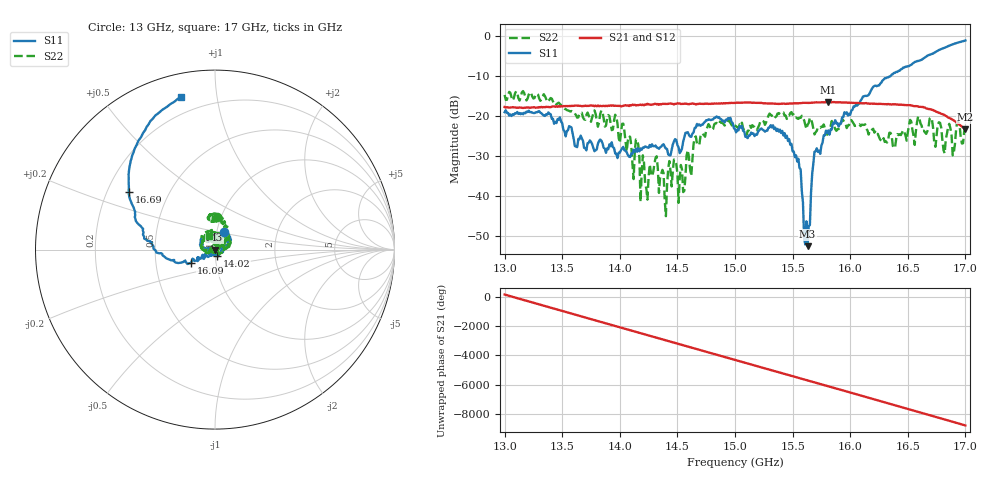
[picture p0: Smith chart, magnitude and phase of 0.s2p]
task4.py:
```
import numpy as np
import skrf as rf
import matplotlib.pyplot as plt

def readout_s2p(your_file):

  ntwk = rf.Network(your_file)

  # Frequency (Hz)
  freq = ntwk.f

  # S-parameters (complex!)
  S = ntwk.s   # shape: (Nfreq, 2, 2)

  # Individual parameters
  S11 = S[:, 0, 0]
  S21 = S[:, 1, 0]
  S12 = S[:, 0, 1]
  S22 = S[:, 1, 1]
  return(freq, S11, S21, S12, S22)



phi = 0

freq, S11, S21, S12, S22 = readout_s2p("lab2/measurements/Practicum2-1.38m/0.s2p")

c0 = 3e8


r = 1.38 # 1, 0.5
lambd = c0/freq

gain = np.abs(S21)*4*np.pi*r/lambd

plt.plot(freq/1e9,10*np.log10(gain))
plt.xlabel("Freq (GHz)")
plt.ylabel("Gain (dB)")
plt.title("Gain per frequency")
plt.grid()

plt.show()
plt.savefig("plots/task4.png", dpi=500)
```
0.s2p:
!Keysight Technologies,P9374A,MY57211807,A.19.30.04
!Date: Friday, May 01, 2026 14:06:19
!Correction: S11(C  2-Port  )
!S21(C  2-Port  )
!S12(C  2-Port  )
!S22(C  2-Port  )
!S2P File: Measurements: S11, S21, S12, S22:
# Hz S  RI  R 50
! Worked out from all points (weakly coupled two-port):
!   401 points, 13 GHz to 17 GHz, reference 50 ohm
!   highest |S21| = -16.57 dB at 15.81 GHz (marker M1); lowest = -23.4 dB at 17 GHz (marker M2)
!   lowest |S11| = -52.6 dB at 15.63 GHz (marker M3), VSWR 1.00, Z = 49.8 - j0.0845 ohm
!   |S11| at or under -10 dB: start of sweep to 16.35 GHz
!   |S22| runs from -45.1 to -13.8 dB; largest |S21 - S12| = 0.0044
!   S11 on the Smith chart (normalised r, x): 13 GHz: 1.08, +0.22; 14.02 GHz: 1.02, -0.08; 16.09 GHz: 0.76, -0.12; 16.69 GHz: 0.29, +0.28; 17 GHz: 0.11, +0.80
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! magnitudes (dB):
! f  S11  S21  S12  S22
! 13 GHz  -19.1  -17.8  -17.8  -14.8
! 14.02 GHz  -28.1  -17.6  -17.6  -22.0
! 14.39 GHz  -27.7  -17.0  -17.0  -41.1
! 15 GHz  -23.3  -16.8  -16.8  -22.5
! 15.45 GHz  -25.0  -17.0  -17.0  -20.8
! 15.63 GHz  -52.6  -16.8  -16.8  -22.3
! 15.69 GHz  -29.0  -16.7  -16.7  -24.7
! 15.81 GHz  -23.7  -16.6  -16.6  -24.4
! 16.09 GHz  -16.3  -16.9  -16.9  -22.6
! 16.69 GHz  -4.8  -18.3  -18.3  -20.7
! 17 GHz  -1.2  -23.4  -23.4  -21.7
